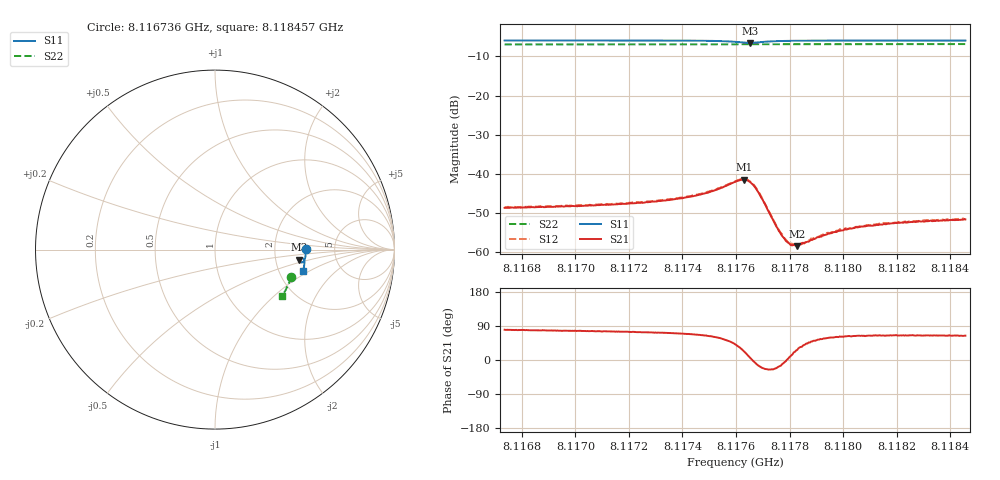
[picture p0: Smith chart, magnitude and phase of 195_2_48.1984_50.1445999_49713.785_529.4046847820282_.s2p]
#  HZ  S  RI  R  50.00
! Rohde & Schwarz Vector Network Analyzer
! Rohde-Schwarz,ZNB20-2Port,1311601062101988,3.16
! Created: UTC 3/20/2024, 11:44:48 AM
! freq[Hz]  re:S11  im:S11  re:S21  im:S21  re:S12  im:S12  re:S22  im:S22
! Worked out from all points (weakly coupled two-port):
!   401 points, 8.116736 GHz to 8.118457 GHz, reference 50 ohm
!   highest |S21| = -41.46 dB at 8.117631 GHz (marker M1); lowest = -58.5 dB at 8.117828 GHz (marker M2)
!   lowest |S11| = -6.5 dB at 8.117652 GHz (marker M3), VSWR 2.79, Z = 136 - j19.9 ohm
!   |S11| at or under -10 dB: nowhere
!   |S22| runs from -6.9 to -6.8 dB; largest |S21 - S12| = 0.00022
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8.1167357e9  0.5065 0.00321  0.00065 0.00363  0.000711 0.00369  0.4239 -0.1517
8.117024e9  0.5057 -0.0192  0.000902 0.0038  0.000968 0.00386  0.4176 -0.1709
8.117153e9  0.5047 -0.0296  0.00105 0.00396  0.00111 0.00402  0.4145 -0.1792
8.1173122e9  0.5031 -0.043  0.00139 0.00431  0.00145 0.00434  0.4103 -0.1896
8.1174671e9  0.4988 -0.0582  0.00223 0.00498  0.00234 0.00505  0.4059 -0.1996
8.1175273e9  0.4945 -0.0654  0.00317 0.00543  0.00325 0.00547  0.4038 -0.2036
8.1175961e9  0.4815 -0.0718  0.00592 0.00527  0.00607 0.0053  0.4014 -0.2079
8.1176306e9  0.4709 -0.066  0.00782 0.00321  0.008 0.00319  0.4 -0.2095
8.1176521e9  0.4688 -0.0569  0.00785 0.000845  0.00802 0.000762  0.3993 -0.2104
8.117665e9  0.4711 -0.0515  0.00718 -0.000389  0.00732 -0.000499  0.3991 -0.2109
8.1176822e9  0.4768 -0.0471  0.00574 -0.00143  0.00584 -0.00145  0.399 -0.2117
8.1177467e9  0.4934 -0.052  0.00209 -0.000857  0.00214 -0.0009  0.3978 -0.216
8.1177768e9  0.496 -0.0567  0.00153 -0.000233  0.00155 -0.000237  0.3969 -0.2181
8.1177983e9  0.4973 -0.0597  0.00129 0.000155  0.00127 0.00011  0.3965 -0.2195
8.1178113e9  0.4977 -0.0615  0.00118 0.000322  0.00124 0.000324  0.3961 -0.2203
8.1178285e9  0.4981 -0.0637  0.00107 0.000535  0.00113 0.000537  0.3954 -0.2216
8.11785e9  0.4985 -0.0662  0.00104 0.000818  0.00101 0.000811  0.3948 -0.2228
8.1178844e9  0.4986 -0.0701  0.000946 0.00108  0.000967 0.00113  0.3936 -0.2251
8.117936e9  0.4986 -0.0753  0.000906 0.00141  0.00098 0.0014  0.3919 -0.2285
8.1180135e9  0.4978 -0.0825  0.000894 0.00173  0.000938 0.00176  0.3894 -0.2331
8.1181726e9  0.4957 -0.0958  0.000988 0.00209  0.00102 0.00211  0.384 -0.2432
8.1184566e9  0.491 -0.1175  0.00114 0.00236  0.00117 0.00238  0.3737 -0.2601
